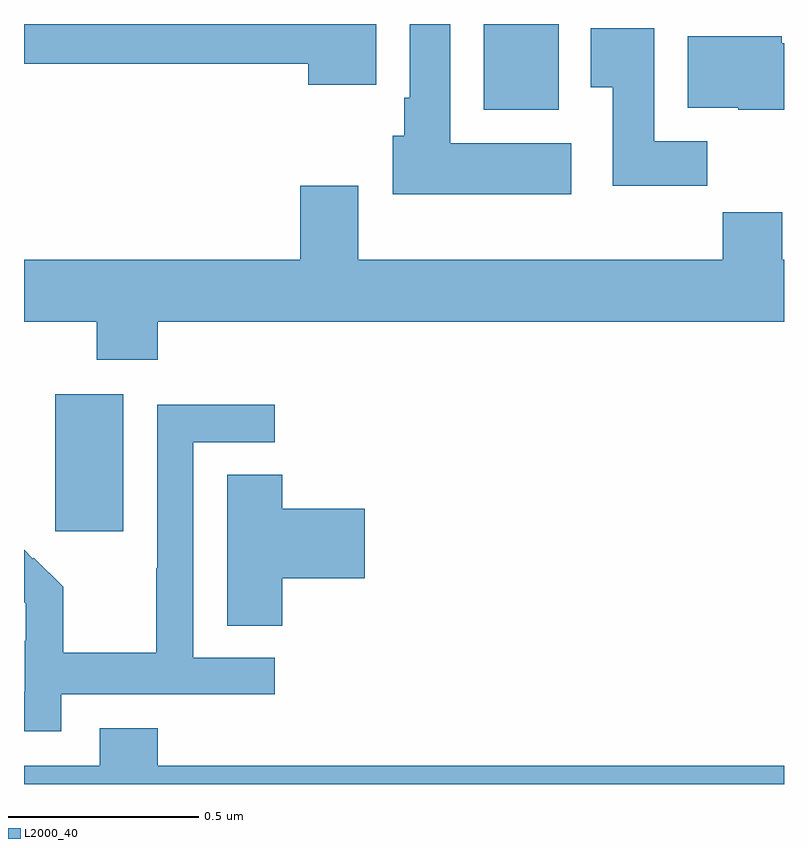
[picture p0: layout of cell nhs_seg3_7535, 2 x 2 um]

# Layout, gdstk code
import gdstk
lib = gdstk.Library(unit=1e-6, precision=1e-09)
def R(c, l, rs):  # rectangles x0, y0, x1, y1
    for r in rs: c.add(gdstk.rectangle(r[:2], r[2:], *l))
def P(c, l, *ps):  # polygons
    for p in ps: c.add(gdstk.Polygon(p, *l))
L2000_40 = (2000, 40)

nhs_seg3_7535 = lib.new_cell('nhs_seg3_7535')
R(nhs_seg3_7535, L2000_40, [(205.082,667.065,205.261,667.426), (206.21,668.174,206.407,668.4)])
P(nhs_seg3_7535, L2000_40, [(205.927,668.4),(205,668.4),(205,668.296),(205.748,668.296),(205.748,668.24),(205.927,668.24)],
  [(206.44,668.086),(206.122,668.086),(206.122,668.4),(206.015,668.4),(206.015,668.206),(206,668.206),(206,668.106),(205.97,668.106),(205.97,667.952),(206.44,667.952)],
  [(206.798,668.092),(206.659,668.092),(206.659,668.389),(206.492,668.389),(206.492,668.233),(206.549,668.233),(206.549,667.974),(206.798,667.974)],
  [(207,668.35),(206.994,668.35),(206.994,668.368),(206.747,668.368),(206.747,668.18),(206.88,668.18),(206.88,668.174),(207,668.174)],
  [(207,667.78),(206.996,667.78),(206.996,667.904),(206.839,667.904),(206.839,667.78),(205.879,667.78),(205.879,667.975),(205.727,667.975),(205.727,667.78),(205,667.78),(205,667.616),(205.192,667.616),(205.192,667.517),(205.352,667.517),(205.352,667.616),(207,667.616)],
  [(205.098,666.636),(205.66,666.636),(205.66,666.732),(205.446,666.732),(205.446,667.299),(205.66,667.299),(205.66,667.398),(205.35,667.398),(205.35,666.968),(205.348,666.968),(205.348,666.745),(205.103,666.745),(205.103,666.919),(205.026,666.996),(205.023,666.993),(205,667.016),(205,666.878),(205.004,666.874),(205.004,666.777),(205.002,666.777),(205.002,666.643),(205,666.643),(205,666.539),(205.098,666.539)],
  [(205.679,666.941),(205.897,666.941),(205.897,667.124),(205.679,667.124),(205.679,667.214),(205.535,667.214),(205.535,666.817),(205.679,666.817)],
  [(207,666.448),(205.352,666.448),(205.352,666.547),(205.199,666.547),(205.199,666.448),(205,666.448),(205,666.4),(207,666.4)])

lib.write_gds('nhs_seg3_7535.gds')
